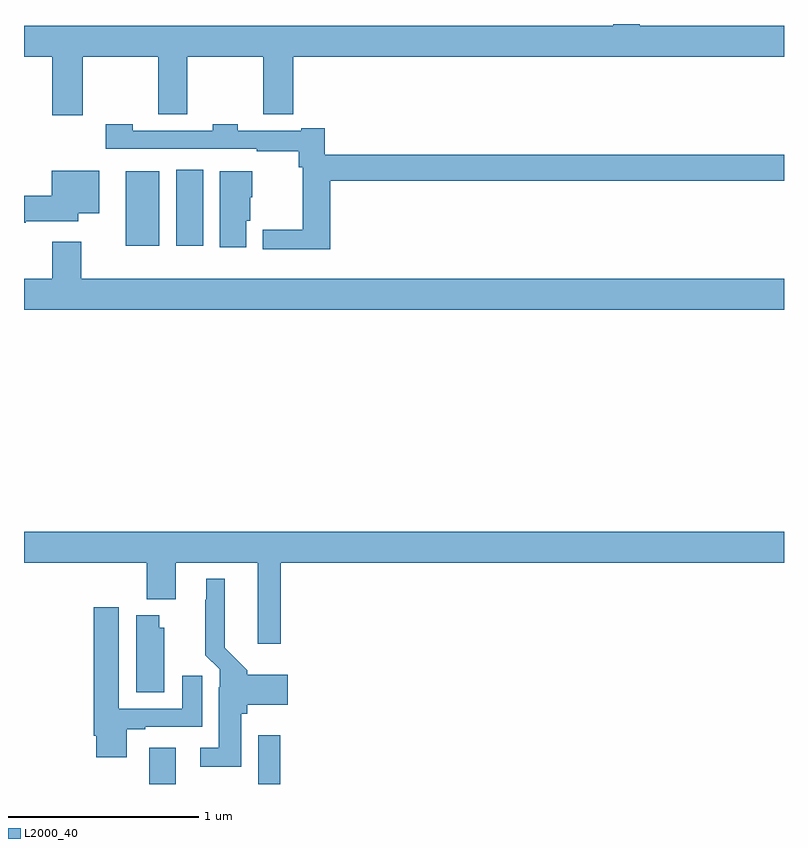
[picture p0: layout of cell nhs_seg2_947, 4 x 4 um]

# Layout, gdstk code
import gdstk
lib = gdstk.Library(unit=1e-6, precision=1e-09)
def R(c, l, rs):  # rectangles x0, y0, x1, y1
    for r in rs: c.add(gdstk.rectangle(r[:2], r[2:], *l))
def P(c, l, *ps):  # polygons
    for p in ps: c.add(gdstk.Polygon(p, *l))
L2000_40 = (2000, 40)

nhs_seg2_947 = lib.new_cell('nhs_seg2_947')
R(nhs_seg2_947, L2000_40, [(159.659,651.8,159.799,651.991), (160.233,651.8,160.349,652.057), (159.536,654.632,159.712,655.024), (159.8,654.632,159.943,655.033)])
P(nhs_seg2_947, L2000_40, [(159.309,655.628),(159.706,655.628),(159.706,655.324),(159.86,655.324),(159.86,655.628),(160.258,655.628),(160.258,655.324),(160.418,655.324),(160.418,655.628),(163,655.628),(163,655.792),(162.241,655.792),(162.241,655.8),(162.101,655.8),(162.101,655.792),(159,655.792),(159,655.628),(159.149,655.628),(159.149,655.32),(159.309,655.32)],
  [(160.613,654.976),(163,654.976),(163,655.112),(160.583,655.112),(160.583,655.252),(160.46,655.252),(160.46,655.239),(160.125,655.239),(160.125,655.272),(159.993,655.272),(159.993,655.239),(159.573,655.239),(159.573,655.272),(159.429,655.272),(159.429,655.143),(160.225,655.143),(160.225,655.131),(160.447,655.131),(160.447,655.046),(160.466,655.046),(160.466,654.716),(160.257,654.716),(160.257,654.614),(160.613,654.614)],
  [(159.01,654.761),(159.286,654.761),(159.286,654.803),(159.397,654.803),(159.397,655.027),(159.146,655.027),(159.146,654.896),(159,654.896),(159,654.754),(159.01,654.754)],
  [(160.171,654.765),(160.192,654.765),(160.192,654.888),(160.201,654.888),(160.201,655.024),(160.031,655.024),(160.031,654.624),(160.171,654.624)],
  [(163,654.46),(159.301,654.46),(159.301,654.655),(159.149,654.655),(159.149,654.46),(159,654.46),(159,654.296),(163,654.296)],
  [(160.352,652.964),(163,652.964),(163,653.128),(159,653.128),(159,652.964),(159.647,652.964),(159.647,652.772),(159.799,652.772),(159.799,652.964),(160.229,652.964),(160.229,652.539),(160.352,652.539)],
  [(160.144,652.17),(160.175,652.17),(160.175,652.217),(160.387,652.217),(160.387,652.375),(160.175,652.375),(160.175,652.398),(160.057,652.516),(160.057,652.879),(159.959,652.879),(159.959,652.769),(159.955,652.769),(159.955,652.478),(160.029,652.404),(160.029,652.31),(160.025,652.31),(160.025,651.991),(159.927,651.991),(159.927,651.89),(160.144,651.89)],
  [(159.541,652.089),(159.637,652.089),(159.637,652.101),(159.937,652.101),(159.937,652.369),(159.833,652.369),(159.833,652.197),(159.499,652.197),(159.499,652.729),(159.368,652.729),(159.368,652.054),(159.38,652.054),(159.38,651.942),(159.541,651.942)],
  [(159.739,652.623),(159.712,652.623),(159.712,652.687),(159.59,652.687),(159.59,652.282),(159.739,652.282)])

lib.write_gds('nhs_seg2_947.gds')
